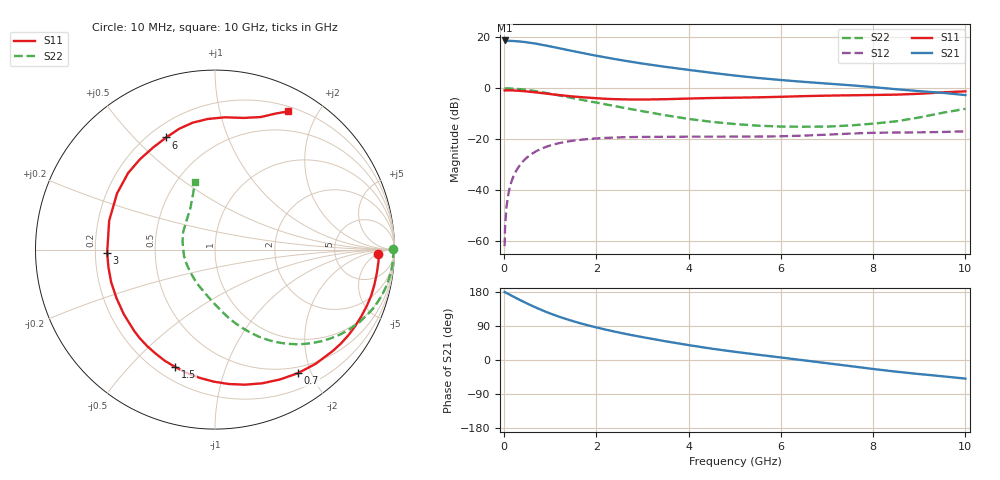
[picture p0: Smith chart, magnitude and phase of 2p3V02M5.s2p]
! (c) 2009  Infineon Technologies AG, Munich
! Infineon Technologies  Discrete & RF Semiconductors
! BFP420
! VCE =  3.0 V,  IC =  2.5 mA
! Common Emitter S-Parameters:  Nov 2009
# GHz  S  MA  R  50
!  f  S11  S21  S12  S22
! GHz  MAG  ANG  MAG  ANG  MAG  ANG  MAG  ANG
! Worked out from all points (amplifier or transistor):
!   46 points, 10 MHz to 10 GHz, reference 50 ohm
!   highest |S21| = 18.8 dB at 10 MHz (marker M1)
!   |S21| within 3 dB of that: start of sweep to 1.178 GHz
!   unconditionally stable (mu >= 1): 3.724 GHz to end of sweep
!   at 300 MHz: K = 0.06, MSG = 24.8 dB, |S12| = -31.2 dB
!   at 1.7 GHz: K = 0.39, MSG = 17.0 dB, |S12| = -20.1 dB
!   at 10 GHz: K = 1.19, MAG = 4.5 dB, |S12| = -16.9 dB
!   lowest NFmin = 0.55 dB at 900 MHz
!   S11 on the Smith chart (normalised r, x): 10 MHz: 19, -5; 700 MHz: 0.41, -1.81; 1.5 GHz: 0.27, -0.68; 3 GHz: 0.25, -0.02; 6 GHz: 0.27, +0.62; 10 GHz: 0.26, +1.63
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0.01  0.9082 -1.5  8.679 179.3  0.0008 79.3  0.9931 0.1
0.02  0.9127 -1.6  8.439 178.9  0.0019 81.7  0.994 -0.9
0.05  0.9133 -4.1  8.473 176.7  0.0047 87.7  0.9938 -2.2
0.15  0.9094 -12.3  8.489 170.5  0.014 82.8  0.9887 -6.9
0.3  0.8961 -24.6  8.34 161.0  0.0275 76.2  0.97 -13.7
0.45  0.8753 -36.7  8.077 152.0  0.0403 69.6  0.9404 -20.3
0.6  0.8484 -48.5  7.73 143.2  0.0518 63.2  0.9023 -26.5
0.7  0.8294 -56.1  7.481 137.7  0.0587 59.3  0.8736 -30.3
1  0.7705 -77.6  6.638 122.7  0.0757 48.8  0.7828 -40.7
1.2  0.7353 -90.7  6.087 113.9  0.0843 42.7  0.7226 -46.7
1.5  0.6909 -108.7  5.352 102.3  0.094 35.1  0.6396 -54.5
1.7  0.6668 -119.9  4.924 95.3  0.0987 30.6  0.59 -59.0
2.2  0.6228 -144.6  4.035 80.2  0.1064 21.7  0.4844 -68.6
2.6  0.6065 -162.5  3.493 69.7  0.1097 15.8  0.4137 -75.8
3  0.6013 -178.1  3.059 60.3  0.1112 11.2  0.3555 -82.5
3.5  0.6113 164.7  2.634 49.4  0.1119 6.6  0.2957 -91.8
4.5  0.6453 138.6  2.013 29.9  0.1126 0.3  0.2197 -114.5
5.5  0.6649 121.3  1.596 14.0  0.113 -3.2  0.1849 -139.1
6  0.6813 113.5  1.453 6.6  0.1145 -4.1  0.1774 -153.1
7  0.7179 100.0  1.238 -8.5  0.1233 -6.6  0.1773 179.4
8.5  0.7506 77.8  0.959 -30.8  0.1356 -15.8  0.2249 135.2
10  0.8711 62.1  0.737 -49.1  0.1432 -21.6  0.3954 106.4
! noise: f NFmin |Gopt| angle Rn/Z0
0.9  0.55  0.41  33  0.2
1.8  1.02  0.24  78  0.16
2.4  1.11  0.26  103  0.15
3  1.28  0.27  140  0.11
4  1.5  0.34  -163  0.1
5  1.85  0.4  -130  0.26
6  2.56  0.5  -109  0.35
